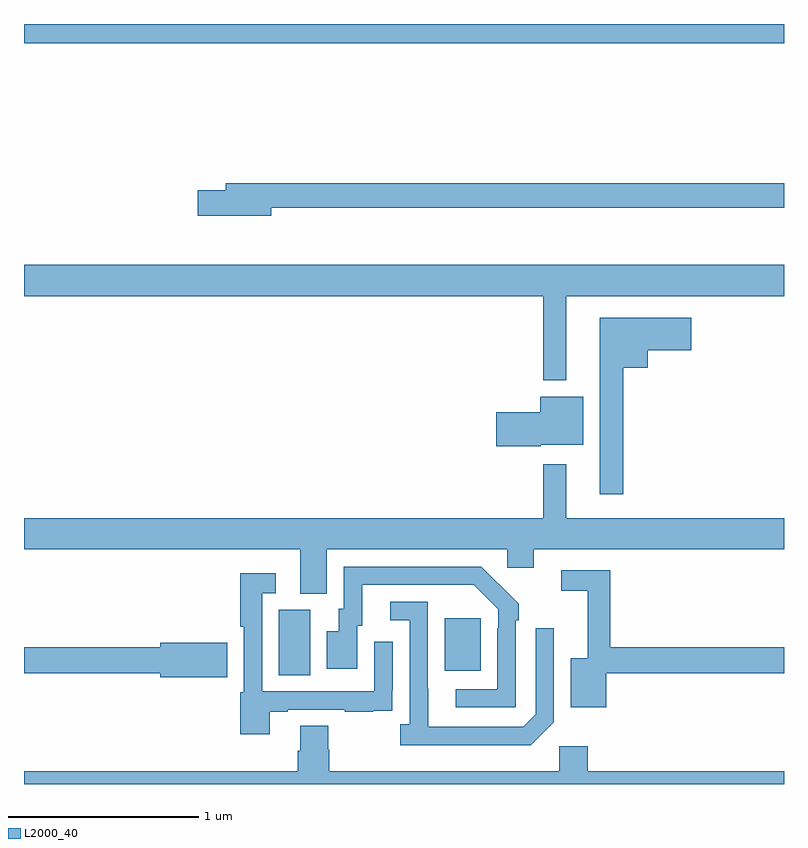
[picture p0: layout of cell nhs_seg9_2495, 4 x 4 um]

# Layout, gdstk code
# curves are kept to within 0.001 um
import gdstk
lib = gdstk.Library(unit=1e-6, precision=1e-09)
def R(c, l, rs):  # rectangles x0, y0, x1, y1
    for r in rs: c.add(gdstk.rectangle(r[:2], r[2:], *l))
def P(c, l, *ps):  # polygons
    for p in ps: c.add(gdstk.Polygon(p, *l))
L2000_40 = (2000, 40)

nhs_seg9_2495 = lib.new_cell('nhs_seg9_2495')
R(nhs_seg9_2495, L2000_40, [(254.342,1213.072,254.506,1213.416), (255.215,1213.097,255.403,1213.372), (253,1216.4,257,1216.5)])
P(nhs_seg9_2495, L2000_40, [(254.302,1215.534),(257,1215.534),(257,1215.662),(254.063,1215.662),(254.063,1215.626),(253.914,1215.626),(253.914,1215.491),(254.302,1215.491)],
  [(255.853,1215.068),(257,1215.068),(257,1215.232),(253,1215.232),(253,1215.068),(255.732,1215.068),(255.732,1214.624),(255.853,1214.624)],
  [(256.153,1214.69),(256.282,1214.69),(256.282,1214.783),(256.513,1214.783),(256.513,1214.953),(256.031,1214.953),(256.031,1214.025),(256.153,1214.025)],
  [(255.72,1214.285),(255.943,1214.285),(255.943,1214.539),(255.716,1214.539),(255.716,1214.456),(255.486,1214.456),(255.486,1214.278),(255.72,1214.278)],
  [(257,1213.9),(255.853,1213.9),(255.853,1214.182),(255.732,1214.182),(255.732,1213.9),(253,1213.9),(253,1213.736),(254.453,1213.736),(254.453,1213.501),(254.593,1213.501),(254.593,1213.736),(255.543,1213.736),(255.543,1213.638),(255.682,1213.638),(255.682,1213.736),(257,1213.736)],
  [(255.588,1213.361),(255.603,1213.361),(255.603,1213.449),(255.406,1213.644),(254.682,1213.644),(254.682,1213.422),(254.657,1213.422),(254.657,1213.303),(254.594,1213.303),(254.594,1213.107),(254.755,1213.107),(254.755,1213.332),(254.779,1213.332),(254.779,1213.548),(255.367,1213.548),(255.495,1213.419),(255.495,1213.319),(255.492,1213.319),(255.492,1212.999),(255.273,1212.999),(255.273,1212.903),(255.588,1212.903)],
  [(256.065,1213.084),(257,1213.084),(257,1213.22),(256.085,1213.22),(256.085,1213.626),(255.828,1213.626),(255.828,1213.518),(255.968,1213.518),(255.968,1213.162),(255.878,1213.162),(255.878,1212.905),(256.065,1212.905)],
  [(254.293,1212.879),(254.389,1212.879),(254.389,1212.891),(254.689,1212.891),(254.689,1212.879),(254.837,1212.879),(254.837,1212.885),(254.939,1212.885),(254.939,1212.994),(254.94,1212.994),(254.94,1213.249),(254.844,1213.249),(254.844,1212.987),(254.253,1212.987),(254.253,1213.503),(254.326,1213.503),(254.326,1213.609),(254.137,1213.609),(254.137,1213.327),(254.157,1213.327),(254.157,1212.984),(254.137,1212.984),(254.137,1212.762),(254.293,1212.762)],
  [(255.789,1212.825),(255.789,1213.321),(255.693,1213.321),(255.693,1212.867),(255.627,1212.801),(255.127,1212.801),(255.126,1213.458),(254.928,1213.458),(254.928,1213.362),(255.03,1213.362),(255.03,1212.814),(254.979,1212.814),(254.979,1212.704),(255.668,1212.704)],
  [(254.071,1213.244),(253.718,1213.244),(253.718,1213.22),(253,1213.22),(253,1213.084),(253.718,1213.084),(253.718,1213.061),(254.071,1213.061)],
  [(257,1212.568),(255.968,1212.568),(255.968,1212.7),(255.816,1212.7),(255.816,1212.568),(254.606,1212.568),(254.606,1212.681),(254.601,1212.681),(254.601,1212.806),(254.453,1212.806),(254.453,1212.674),(254.441,1212.674),(254.441,1212.568),(253,1212.568),(253,1212.5),(257,1212.5)])

lib.write_gds('nhs_seg9_2495.gds')
